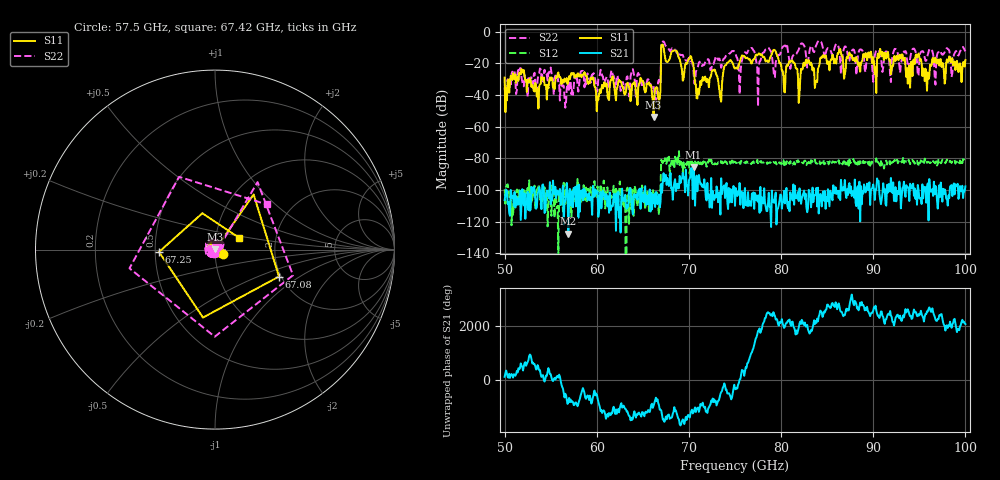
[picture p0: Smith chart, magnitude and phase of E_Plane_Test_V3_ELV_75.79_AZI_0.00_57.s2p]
! 11/26/2026 4:37:54 PM
! C:\ANRITSUVNA\TEMP\TEMP.S2P
! CHANNEL.1
! TR.MEASUREMENT
! RAW.DATA
# HZ S RI R 50.0
! FREQ.HZ  S11RE  S11IM  S21RE  S21IM  S12RE  S12IM  S22RE  S22IM
!; PortSelection: Port_12
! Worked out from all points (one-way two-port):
!   601 points, 50 GHz to 100 GHz, reference 50 ohm
!   highest |S21| = -85.58 dB at 70.5 GHz (marker M1); lowest = -127.7 dB at 56.92 GHz (marker M2)
!   lowest |S11| = -53.9 dB at 66.17 GHz (marker M3), VSWR 1.00, Z = 50.1 + j0.146 ohm
!   |S11| at or under -10 dB: start of sweep to 67 GHz; 67.24 GHz to end of sweep
!   |S22| runs from -48.1 to -5.6 dB; largest |S21 - S12| = 0.00017
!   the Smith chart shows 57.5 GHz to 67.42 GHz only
!   S11 on the Smith chart (normalised r, x): 57.5 GHz: 1.09, -0.05; 67.08 GHz: 1.95, -0.69; 67.25 GHz: 0.52, -0.01; 67.42 GHz: 1.29, +0.18
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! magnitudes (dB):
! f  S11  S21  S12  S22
! 50 GHz  -29.0  -106.5  -99.6  -35.4
! 56.92 GHz  -31.0  -127.7  -107.1  -35.1
! 57.5 GHz  -26.2  -98.8  -98.2  -34.6
! 58.42 GHz  -27.1  -100.2  -103.6  -24.8
! 60.17 GHz  -43.0  -117.1  -106.5  -30.3
! 66.17 GHz  -53.9  -108.4  -102.5  -34.0
! 66.67 GHz  -41.4  -108.0  -110.8  -31.6
! 67.08 GHz  -8.2  -101.8  -82.7  -6.8
! 67.25 GHz  -10.1  -89.5  -80.5  -6.2
! 67.42 GHz  -16.6  -92.6  -80.0  -8.3
! 70.5 GHz  -21.3  -85.6  -83.0  -25.0
! 70.92 GHz  -42.2  -100.9  -84.8  -23.2
! 75 GHz  -23.3  -110.1  -82.3  -12.9
! 77.58 GHz  -13.8  -103.5  -82.5  -21.7
! 78.5 GHz  -18.2  -113.5  -83.6  -10.8
! 79.33 GHz  -11.8  -105.3  -83.0  -28.8
! 80.25 GHz  -27.9  -107.6  -81.2  -9.4
! 83.42 GHz  -24.5  -98.6  -82.3  -10.8
! 91.67 GHz  -16.8  -96.4  -82.3  -15.2
! 94.83 GHz  -15.0  -96.9  -83.8  -27.8
! 95.83 GHz  -37.4  -98.6  -82.9  -16.5
! 100 GHz  -17.9  -97.8  -82.8  -12.5
